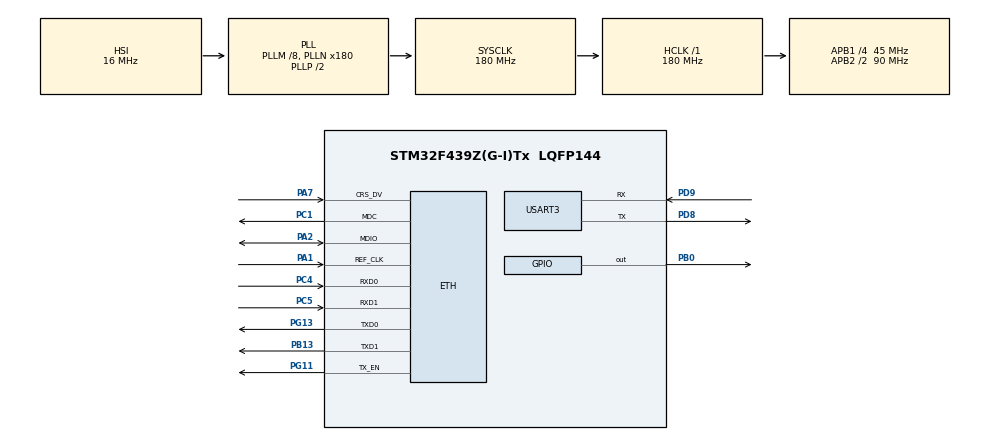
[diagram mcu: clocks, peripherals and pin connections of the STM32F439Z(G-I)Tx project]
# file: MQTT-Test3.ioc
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ETH.MediaInterface=HAL_ETH_RMII_MODE
LWIP.BSP.number=1
LWIP.IP_ADDRESS=192.168.000.010
LWIP.LWIP_DHCP=1
LWIP.NETMASK_ADDRESS=255.255.255.000
LWIP.Version=v2.1.2_Cube
LWIP0.BSP.STBoard=false
LWIP0.BSP.api=BSP_COMPONENT_DRIVER
LWIP0.BSP.component=LAN8742
LWIP0.BSP.instance=LAN8742
LWIP0.BSP.name=Driver_PHY
LWIP0.BSP.semaphore=S_LAN8742
LWIP0.BSP.solution=LAN8742
Mcu.Family=STM32F4
Mcu.Name=STM32F439Z(G-I)Tx
Mcu.Package=LQFP144
NVIC.ETH_IRQn=true\:0\:0\:false\:false\:true\:true\:true\:true
NVIC.PriorityGroup=NVIC_PRIORITYGROUP_4
PA1.Mode=RMII
PA1.Signal=ETH_REF_CLK
PA2.Mode=RMII
PA2.Signal=ETH_MDIO
PA7.Mode=RMII
PA7.Signal=ETH_CRS_DV
PB0.Signal=GPIO_Output
PB13.Mode=RMII
PB13.Signal=ETH_TXD1
PC1.Mode=RMII
PC1.Signal=ETH_MDC
PC4.Mode=RMII
PC4.Signal=ETH_RXD0
PC5.Mode=RMII
PC5.Signal=ETH_RXD1
PD8.Mode=Asynchronous
PD8.Signal=USART3_TX
PD9.Mode=Asynchronous
PD9.Signal=USART3_RX
PG11.Mode=RMII
PG11.Signal=ETH_TX_EN
PG13.Mode=RMII
PG13.Signal=ETH_TXD0
PH0/OSC_IN.Mode=HSE-External-Clock-Source
PH0/OSC_IN.Signal=RCC_OSC_IN
PH1/OSC_OUT.Mode=HSE-External-Clock-Source
PH1/OSC_OUT.Signal=RCC_OSC_OUT
ProjectManager.HeapSize=0x200
ProjectManager.StackSize=0x400
ProjectManager.TargetToolchain=STM32CubeIDE
RCC.48MHZClocksFreq_Value=90000000
RCC.AHBFreq_Value=180000000
RCC.APB1CLKDivider=RCC_HCLK_DIV4
RCC.APB1Freq_Value=45000000
RCC.APB1TimFreq_Value=90000000
RCC.APB2CLKDivider=RCC_HCLK_DIV2
RCC.APB2Freq_Value=90000000
RCC.APB2TimFreq_Value=180000000
RCC.CortexFreq_Value=180000000
RCC.HCLKFreq_Value=180000000
RCC.HSE_VALUE=25000000
RCC.HSI_VALUE=16000000
RCC.LSE_VALUE=32768
RCC.PLLM=8
RCC.PLLN=180
RCC.SYSCLKFreq_VALUE=180000000
RCC.SYSCLKSource=RCC_SYSCLKSOURCE_PLLCLK
RCC.VCOOutputFreq_Value=360000000
USART3.VirtualMode=VM_ASYNC
VP_LWIP_VS_Enabled.Mode=Enabled
board=custom

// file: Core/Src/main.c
/* USER CODE BEGIN Header */
/**
  ******************************************************************************
  * @file           : main.c
  * @brief          : Main program body
  ******************************************************************************
  * @attention
  *
  * Copyright (c) 2026 STMicroelectronics.
  * All rights reserved.
  *
  * This software is licensed under terms that can be found in the LICENSE file
  * in the root directory of this software component.
  * If no LICENSE file comes with this software, it is provided AS-IS.
  *
  ******************************************************************************
  */
/* USER CODE END Header */
#include "main.h"
#include "lwip.h"

/* USER CODE BEGIN Includes */
#include "ampel_control.h"
#include "ampel_output.h"
#include "master_mqtt.h"
#include "lwip/ip_addr.h"
#include "lwip/netif.h"
#include <stdio.h>

extern struct netif gnetif;
/* USER CODE END Includes */

UART_HandleTypeDef huart3;

/* USER CODE BEGIN PV */

// Benötigt um das Board blinken zu lassen, falls idle
static uint32_t last_blink = 0;

uint8_t idleVorher;

static uint8_t after_idle_pause_active = 0;
static uint32_t after_idle_pause_start = 0;

/* USER CODE END PV */

void SystemClock_Config(void);
static void MX_GPIO_Init(void);
static void MX_USART3_UART_Init(void);

int main(void)
{

  /* MCU Configuration--------------------------------------------------------*/

  /* Reset of all peripherals, Initializes the Flash interface and the Systick. */
  HAL_Init();

  /* Configure the system clock */
  SystemClock_Config();

  /* Initialize all configured peripherals */
  MX_GPIO_Init();
  MX_LWIP_Init();
  MX_USART3_UART_Init();
  /* USER CODE BEGIN 2 */
  printf("\n*** Master startet neu ***\n");

  printf("Warte auf Ethernet-Link...\n");
  while (!netif_is_link_up(&gnetif))
  {
      MX_LWIP_Process();
  }
  printf("Link up. Warte auf DHCP-IP...\n");
  while (netif_ip4_addr(&gnetif)->addr == 0)
  {
      MX_LWIP_Process();
  }
  printf("IP: %s\n", ip4addr_ntoa(netif_ip4_addr(&gnetif)));

  MQTT_Init_Client();

  lastHeartbeatA = HAL_GetTick();
  lastHeartbeatB = HAL_GetTick();
  lastHeartbeatC = HAL_GetTick();

  idleVorher = idle;

  /* USER CODE END 2 */

  /* Infinite loop */
  while (1)
  {

    /* USER CODE BEGIN 3 */
      MX_LWIP_Process();
      MQTT_Custom_Heartbeat();
      MQTT_Monitor_Heartbeats();

      process_publish_retries();

      if (idleVorher && !idle)
      {
          // Dieser Code läuft bei JEDEM Verlassen des Idle-Zustands
          // Kompletter reset von allem:

          Ampel_Reset_After_Idle();

          after_idle_pause_start = HAL_GetTick();
          after_idle_pause_active = 1;
      }

      // wenn idle zustand oder nicht mit MQTT Broker verbunden, dann orange blinken; GGF trennen und eine andere LED soll bei nicht connected blinken
      if( idle || !mqtt_connected )
      {
         // Selbst Orange blinken
        if (HAL_GetTick() - last_blink >= 250)   // alle 250 ms -> ~2 Hz Blinken
        {
            last_blink = HAL_GetTick();
            HAL_GPIO_TogglePin(GPIOB, GPIO_PIN_0);
        }
      }
      else
      {

        // Nach Idle zunächst warten, damit die Red-Publishes verarbeitet werden
        if (after_idle_pause_active)
        {
            if (HAL_GetTick() - after_idle_pause_start >= AFTER_IDLE_PAUSE_MS)
            {
                after_idle_pause_active = 0;
            }

            // Solange die Pause aktiv ist:
            // kein Ampel_zyklus() aufrufen.
        }
        else
        {
            Ampel_zyklus();
        }

        // Ampel_zyklus();

      }

      idleVorher = idle;

  }
  /* USER CODE END 3 */
}

void SystemClock_Config(void)
{
  RCC_OscInitTypeDef RCC_OscInitStruct = {0};
  RCC_ClkInitTypeDef RCC_ClkInitStruct = {0};

  /** Configure the main internal regulator output voltage
  */
  __HAL_RCC_PWR_CLK_ENABLE();
  __HAL_PWR_VOLTAGESCALING_CONFIG(PWR_REGULATOR_VOLTAGE_SCALE1);

  /** Initializes the RCC Oscillators according to the specified parameters
  * in the RCC_OscInitTypeDef structure.
  */
  RCC_OscInitStruct.OscillatorType = RCC_OSCILLATORTYPE_HSI;
  RCC_OscInitStruct.HSIState = RCC_HSI_ON;
  RCC_OscInitStruct.HSICalibrationValue = RCC_HSICALIBRATION_DEFAULT;
  RCC_OscInitStruct.PLL.PLLState = RCC_PLL_ON;
  RCC_OscInitStruct.PLL.PLLSource = RCC_PLLSOURCE_HSI;
  RCC_OscInitStruct.PLL.PLLM = 8;
  RCC_OscInitStruct.PLL.PLLN = 180;
  RCC_OscInitStruct.PLL.PLLP = RCC_PLLP_DIV2;
  RCC_OscInitStruct.PLL.PLLQ = 4;
  if (HAL_RCC_OscConfig(&RCC_OscInitStruct) != HAL_OK)
  {
    Error_Handler();
  }

  /** Activate the Over-Drive mode
  */
  if (HAL_PWREx_EnableOverDrive() != HAL_OK)
  {
    Error_Handler();
  }

  /** Initializes the CPU, AHB and APB buses clocks
  */
  RCC_ClkInitStruct.ClockType = RCC_CLOCKTYPE_HCLK|RCC_CLOCKTYPE_SYSCLK
                              |RCC_CLOCKTYPE_PCLK1|RCC_CLOCKTYPE_PCLK2;
  RCC_ClkInitStruct.SYSCLKSource = RCC_SYSCLKSOURCE_PLLCLK;
  RCC_ClkInitStruct.AHBCLKDivider = RCC_SYSCLK_DIV1;
  RCC_ClkInitStruct.APB1CLKDivider = RCC_HCLK_DIV4;
  RCC_ClkInitStruct.APB2CLKDivider = RCC_HCLK_DIV2;

  if (HAL_RCC_ClockConfig(&RCC_ClkInitStruct, FLASH_LATENCY_5) != HAL_OK)
  {
    Error_Handler();
  }
}

static void MX_USART3_UART_Init(void)
{

  huart3.Instance = USART3;
  huart3.Init.BaudRate = 115200;
  huart3.Init.WordLength = UART_WORDLENGTH_8B;
  huart3.Init.StopBits = UART_STOPBITS_1;
  huart3.Init.Parity = UART_PARITY_NONE;
  huart3.Init.Mode = UART_MODE_TX_RX;
  huart3.Init.HwFlowCtl = UART_HWCONTROL_NONE;
  huart3.Init.OverSampling = UART_OVERSAMPLING_16;
  if (HAL_UART_Init(&huart3) != HAL_OK)
  {
    Error_Handler();
  }

}

static void MX_GPIO_Init(void)
{
  GPIO_InitTypeDef GPIO_InitStruct = {0};

  /* GPIO Ports Clock Enable */
  __HAL_RCC_GPIOH_CLK_ENABLE();
  __HAL_RCC_GPIOC_CLK_ENABLE();
  __HAL_RCC_GPIOA_CLK_ENABLE();
  __HAL_RCC_GPIOB_CLK_ENABLE();
  __HAL_RCC_GPIOD_CLK_ENABLE();
  __HAL_RCC_GPIOG_CLK_ENABLE();

  /*Configure GPIO pin Output Level */
  HAL_GPIO_WritePin(GPIOB, GPIO_PIN_0, GPIO_PIN_RESET);

  /*Configure GPIO pin : PB0 */
  GPIO_InitStruct.Pin = GPIO_PIN_0;
  GPIO_InitStruct.Mode = GPIO_MODE_OUTPUT_PP;
  GPIO_InitStruct.Pull = GPIO_NOPULL;
  GPIO_InitStruct.Speed = GPIO_SPEED_FREQ_LOW;
  HAL_GPIO_Init(GPIOB, &GPIO_InitStruct);

}

/* USER CODE BEGIN 4 */
int __io_putchar(int ch)
{
    if (ch == '\n')
    {
        uint8_t cr = '\r';
        HAL_UART_Transmit(&huart3, &cr, 1, HAL_MAX_DELAY);
    }
    HAL_UART_Transmit(&huart3, (uint8_t *)&ch, 1, HAL_MAX_DELAY);
    return ch;
}

/* USER CODE END 4 */

void Error_Handler(void)
{
  __disable_irq();
  while (1)
  {
  }
}
